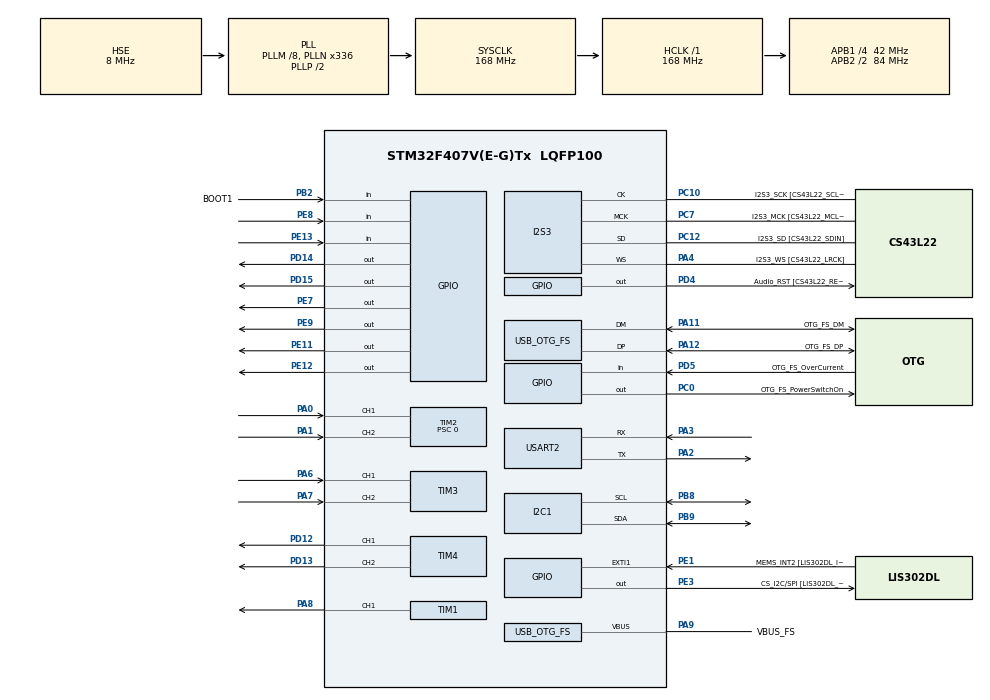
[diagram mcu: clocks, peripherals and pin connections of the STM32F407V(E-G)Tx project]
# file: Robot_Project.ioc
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FREERTOS.Tasks01=defaultTask,24,128,StartDefaultTask,Default,NULL,Dynamic,NULL,NULL;RobotTask,24,512,RobotTaskFunction,Default,NULL,Dynamic,NULL,NULL
I2S3.AudioFreq-Half_Duplex_Master=I2S_AUDIOFREQ_96K
I2S3.ErrorAudioFreq=-2.34 %
I2S3.ErrorAudioFreq-Half_Duplex_Master=0.8 %
I2S3.FullDuplexMode=I2S_FULLDUPLEXMODE_DISABLE
I2S3.Instance=SPI$Index
I2S3.RealAudioFreq=93.75 KHz
I2S3.RealAudioFreq-Half_Duplex_Master=96.774 KHz
I2S3.VirtualMode=I2S_MODE_MASTER
Mcu.Family=STM32F4
Mcu.Name=STM32F407V(E-G)Tx
Mcu.Package=LQFP100
NVIC.OTG_FS_IRQn=true\:5\:0\:false\:false\:true\:true\:true\:true\:true
NVIC.PriorityGroup=NVIC_PRIORITYGROUP_4
NVIC.TIM2_IRQn=true\:5\:0\:false\:false\:true\:true\:true\:true\:true
PA0-WKUP.Signal=S_TIM2_CH1_ETR
PA1.Signal=S_TIM2_CH2
PA10.GPIO_Label=OTG_FS_ID
PA10.GPIO_Mode=GPIO_MODE_AF_PP
PA10.GPIO_PuPd=GPIO_NOPULL
PA10.GPIO_Speed=GPIO_SPEED_FREQ_LOW
PA10.Signal=USB_OTG_FS_ID
PA11.GPIO_Label=OTG_FS_DM
PA11.GPIO_Mode=GPIO_MODE_AF_PP
PA11.GPIO_PuPd=GPIO_NOPULL
PA11.GPIO_Speed=GPIO_SPEED_FREQ_LOW
PA11.Mode=Host_Only
PA11.Signal=USB_OTG_FS_DM
PA12.GPIO_Label=OTG_FS_DP
PA12.GPIO_Mode=GPIO_MODE_AF_PP
PA12.GPIO_PuPd=GPIO_NOPULL
PA12.GPIO_Speed=GPIO_SPEED_FREQ_LOW
PA12.Mode=Host_Only
PA12.Signal=USB_OTG_FS_DP
PA13.GPIO_Label=SWDIO
PA13.Mode=Serial_Wire
PA13.Signal=SYS_JTMS-SWDIO
PA14.GPIO_Label=SWCLK
PA14.Mode=Serial_Wire
PA14.Signal=SYS_JTCK-SWCLK
PA2.Mode=Asynchronous
PA2.Signal=USART2_TX
PA3.Mode=Asynchronous
PA3.Signal=USART2_RX
PA4.GPIO_Label=I2S3_WS [CS43L22_LRCK]
PA4.GPIO_Mode=GPIO_MODE_AF_PP
PA4.GPIO_PuPd=GPIO_NOPULL
PA4.GPIO_Speed=GPIO_SPEED_FREQ_LOW
PA4.Mode=Half_Duplex_Master
PA4.Signal=I2S3_WS
PA5.GPIO_Label=SPI1_SCK [LIS302DL_SCL/SPC]
PA5.GPIO_Mode=GPIO_MODE_AF_PP
PA5.GPIO_PuPd=GPIO_NOPULL
PA5.GPIO_Speed=GPIO_SPEED_FREQ_LOW
PA5.Signal=SPI1_SCK
PA6.Signal=S_TIM3_CH1
PA7.Signal=S_TIM3_CH2
PA8.Signal=S_TIM1_CH1
PA9.GPIO_Label=VBUS_FS
PA9.GPIO_Mode=GPIO_MODE_INPUT
PA9.GPIO_PuPd=GPIO_NOPULL
PA9.Mode=Activate_VBUS
PA9.Signal=USB_OTG_FS_VBUS
PB10.GPIO_Label=CLK_IN [MP45DT02_CLK]
PB10.GPIO_Mode=GPIO_MODE_AF_PP
PB10.GPIO_PuPd=GPIO_NOPULL
PB10.GPIO_Speed=GPIO_SPEED_FREQ_LOW
PB10.Signal=I2S2_CK
PB2.GPIO_Label=BOOT1
PB2.GPIO_Mode=GPIO_MODE_INPUT
PB2.GPIO_PuPd=GPIO_NOPULL
PB2.Signal=GPIO_Input
PB3.GPIO_Label=SWO
PB3.Signal=SYS_JTDO-SWO
PB8.Mode=I2C
PB8.Signal=I2C1_SCL
PB9.Mode=I2C
PB9.Signal=I2C1_SDA
PC0.GPIO_Label=OTG_FS_PowerSwitchOn
PC0.GPIO_PuPd=GPIO_NOPULL
PC0.GPIO_Speed=GPIO_SPEED_FREQ_LOW
PC0.PinState=GPIO_PIN_SET
PC0.Signal=GPIO_Output
PC10.GPIO_Label=I2S3_SCK [CS43L22_SCLK]
PC10.GPIO_Mode=GPIO_MODE_AF_PP
PC10.GPIO_PuPd=GPIO_NOPULL
PC10.GPIO_Speed=GPIO_SPEED_FREQ_LOW
PC10.Mode=Half_Duplex_Master
PC10.Signal=I2S3_CK
PC12.GPIO_Label=I2S3_SD [CS43L22_SDIN]
PC12.GPIO_Mode=GPIO_MODE_AF_PP
PC12.GPIO_PuPd=GPIO_NOPULL
PC12.GPIO_Speed=GPIO_SPEED_FREQ_LOW
PC12.Mode=Half_Duplex_Master
PC12.Signal=I2S3_SD
PC14-OSC32_IN.GPIO_Label=PC14-OSC32_IN
PC14-OSC32_IN.Mode=LSE-External-Oscillator
PC14-OSC32_IN.Signal=RCC_OSC32_IN
PC15-OSC32_OUT.GPIO_Label=PC15-OSC32_OUT
PC15-OSC32_OUT.Mode=LSE-External-Oscillator
PC15-OSC32_OUT.Signal=RCC_OSC32_OUT
PC3.GPIO_Label=PDM_OUT [MP45DT02_DOUT]
PC3.GPIO_Mode=GPIO_MODE_AF_PP
PC3.GPIO_PuPd=GPIO_NOPULL
PC3.GPIO_Speed=GPIO_SPEED_FREQ_LOW
PC3.Signal=I2S2_SD
PC7.GPIO_Label=I2S3_MCK [CS43L22_MCLK]
PC7.GPIO_Mode=GPIO_MODE_AF_PP
PC7.GPIO_PuPd=GPIO_NOPULL
PC7.GPIO_Speed=GPIO_SPEED_FREQ_LOW
PC7.Mode=Master_Clock_Activated
PC7.Signal=I2S3_MCK
PD12.Signal=S_TIM4_CH1
PD13.Signal=S_TIM4_CH2
PD14.Signal=GPIO_Output
PD15.Signal=GPIO_Output
PD4.GPIO_Label=Audio_RST [CS43L22_RESET]
PD4.GPIO_PuPd=GPIO_NOPULL
PD4.GPIO_Speed=GPIO_SPEED_FREQ_LOW
PD4.Signal=GPIO_Output
PD5.GPIO_Label=OTG_FS_OverCurrent
PD5.GPIO_Mode=GPIO_MODE_INPUT
PD5.GPIO_PuPd=GPIO_NOPULL
PD5.Signal=GPIO_Input
PE1.GPIO_Label=MEMS_INT2 [LIS302DL_INT2]
PE1.GPIO_ModeDefaultEXTI=GPIO_MODE_EVT_RISING
PE1.GPIO_PuPd=GPIO_NOPULL
PE1.Signal=GPXTI1
PE11.Signal=GPIO_Output
PE12.Signal=GPIO_Output
PE13.Signal=GPIO_Input
PE3.GPIO_Label=CS_I2C/SPI [LIS302DL_CS_I2C/SPI]
PE3.GPIO_PuPd=GPIO_NOPULL
PE3.GPIO_Speed=GPIO_SPEED_FREQ_LOW
PE3.Signal=GPIO_Output
PE7.Signal=GPIO_Output
PE8.Signal=GPIO_Input
PE9.Signal=GPIO_Output
PH0-OSC_IN.GPIO_Label=PH0-OSC_IN
PH0-OSC_IN.Mode=HSE-External-Oscillator
PH0-OSC_IN.Signal=RCC_OSC_IN
PH1-OSC_OUT.GPIO_Label=PH1-OSC_OUT
PH1-OSC_OUT.Mode=HSE-External-Oscillator
PH1-OSC_OUT.Signal=RCC_OSC_OUT
ProjectManager.HeapSize=0x200
ProjectManager.StackSize=0x400
ProjectManager.TargetToolchain=STM32CubeIDE
RCC.48MHZClocksFreq_Value=48000000
RCC.AHBFreq_Value=168000000
RCC.APB1CLKDivider=RCC_HCLK_DIV4
RCC.APB1Freq_Value=42000000
RCC.APB1TimFreq_Value=84000000
RCC.APB2CLKDivider=RCC_HCLK_DIV2
RCC.APB2Freq_Value=84000000
RCC.APB2TimFreq_Value=168000000
RCC.CortexFreq_Value=168000000
RCC.HCLKFreq_Value=168000000
RCC.HSE_VALUE=8000000
RCC.HSI_VALUE=16000000
RCC.PLLM=8
RCC.PLLN=336
RCC.PLLQ=7
RCC.SYSCLKFreq_VALUE=168000000
RCC.SYSCLKSource=RCC_SYSCLKSOURCE_PLLCLK
RCC.VCOOutputFreq_Value=336000000
SH.S_TIM1_CH1.0=TIM1_CH1,PWM Generation1 CH1
SH.S_TIM2_CH1_ETR.0=TIM2_CH1,Encoder_Interface
SH.S_TIM2_CH2.0=TIM2_CH2,Encoder_Interface
SH.S_TIM3_CH1.0=TIM3_CH1,Encoder_Interface
SH.S_TIM3_CH2.0=TIM3_CH2,Encoder_Interface
SH.S_TIM4_CH1.0=TIM4_CH1,PWM Generation1 CH1
SH.S_TIM4_CH2.0=TIM4_CH2,PWM Generation2 CH2
TIM1.Channel-PWM\ Generation1\ CH1=TIM_CHANNEL_1
TIM1.Period=19999
TIM1.Prescaler=167
TIM1.Pulse-PWM\ Generation1\ CH1=1500
TIM2.Period=65535
TIM2.Prescaler=0
TIM4.Channel-PWM\ Generation1\ CH1=TIM_CHANNEL_1
TIM4.Channel-PWM\ Generation2\ CH2=TIM_CHANNEL_2
TIM5.Prescaler=83
TIM6.Prescaler=83
USART2.VirtualMode=VM_ASYNC
USB_HOST.BSP.number=1
USB_HOST.USBH_HandleTypeDef-CDC_FS=hUsbHostFS
USB_HOST.VirtualModeFS=Cdc
USB_HOST0.BSP.STBoard=false
USB_HOST0.BSP.api=Unknown
USB_HOST0.BSP.instance=PC0
USB_HOST0.BSP.ip=GPIO
USB_HOST0.BSP.mode=Output
USB_HOST0.BSP.name=Drive_VBUS_FS
USB_HOST0.BSP.solution=PC0
USB_OTG_FS.VirtualMode=Host_Only
USB_OTG_FS.phy_itface=HCD_PHY_EMBEDDED
VP_FREERTOS_VS_CMSIS_V2.Mode=CMSIS_V2
VP_TIM1_VS_ClockSourceINT.Mode=Internal
VP_TIM5_VS_ClockSourceINT.Mode=Internal
VP_TIM6_VS_ClockSourceINT.Mode=Enable_Timer
VP_USB_HOST_VS_USB_HOST_CDC_FS.Mode=CDC_FS
board=STM32F407G-DISC1

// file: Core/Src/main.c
/* USER CODE BEGIN Header */
/**
  ******************************************************************************
  * @file           : main.c
  * @brief          : Main program body
  ******************************************************************************
  * @attention
  *
  * Copyright (c) 2026 STMicroelectronics.
  * All rights reserved.
  *
  * This software is licensed under terms that can be found in the LICENSE file
  * in the root directory of this software component.
  * If no LICENSE file comes with this software, it is provided AS-IS.
  *
  ******************************************************************************
  */
/* USER CODE END Header */
#include "main.h"
#include "cmsis_os.h"
#include "usb_host.h"
#include <math.h>
#include <stdio.h>
#include <string.h>

I2C_HandleTypeDef hi2c1;

I2S_HandleTypeDef hi2s3;

TIM_HandleTypeDef htim1;
TIM_HandleTypeDef htim2;
TIM_HandleTypeDef htim3;
TIM_HandleTypeDef htim4;
TIM_HandleTypeDef htim5;
TIM_HandleTypeDef htim6;

UART_HandleTypeDef huart2;

/* Definitions for defaultTask */
osThreadId_t defaultTaskHandle;
const osThreadAttr_t defaultTask_attributes = {
  .name = "defaultTask",
  .stack_size = 128 * 4,
  .priority = (osPriority_t) osPriorityNormal,
};
/* Definitions for RobotTask */
osThreadId_t RobotTaskHandle;
const osThreadAttr_t RobotTask_attributes = {
  .name = "RobotTask",
  .stack_size = 512 * 4,
  .priority = (osPriority_t) osPriorityNormal,
};
/* USER CODE BEGIN PV */

volatile int32_t encoder1_count = 0;
volatile int32_t encoder2_count = 0;

int32_t encoder1_prev = 0;
int32_t encoder2_prev = 0;

int32_t encoder1_delta = 0;
int32_t encoder2_delta = 0;

uint16_t prev_enc1 = 0;
uint16_t prev_enc2 = 0;

int16_t delta1 = 0;
int16_t delta2 = 0;

uint32_t pwm1 = 50000;
uint32_t pwm2 = 50000;

uint32_t last_time = 0;

float distance1 = 0;
float distance2 = 0;

float Yaw_Angle = 0.0f;

volatile float encoder1_speed = 0.0f;
volatile float encoder2_speed = 0.0f;

volatile float speed_error = 0.0f;

volatile uint16_t base_pwm = 50000;

volatile uint16_t left_pwm = 0;
volatile uint16_t right_pwm = 0;

volatile float Kp = 5.0f;

volatile uint32_t mpu_i2c_result = 99;

volatile HAL_StatusTypeDef i2c_test = HAL_ERROR;

volatile HAL_StatusTypeDef mpu_read_status = HAL_ERROR;

volatile uint8_t mpu6500_ready = 0;

/* USER CODE END PV */

void SystemClock_Config(void);
static void MX_GPIO_Init(void);
static void MX_I2C1_Init(void);
static void MX_I2S3_Init(void);
static void MX_TIM1_Init(void);
static void MX_TIM2_Init(void);
static void MX_TIM3_Init(void);
static void MX_TIM4_Init(void);
static void MX_TIM5_Init(void);
static void MX_TIM6_Init(void);
static void MX_USART2_UART_Init(void);
void StartDefaultTask(void *argument);
void RobotTaskFunction(void *argument);

/* USER CODE BEGIN PFP */
void Motor_Forward(void);
void Motor_Backward(void);
void Motor_Left(void);
void Motor_Right(void);
void Motor_Stop(void);

float HCSR04_Read(void);
float HCSR04_Read2(void);

void MPU6500_Init(void);
HAL_StatusTypeDef MPU6500_Read(void);
void MPU6500_CalibrateGyro(void);

/* USER CODE END PFP */

/* USER CODE BEGIN 0 */

#define MPU6500_ADDR  (0x68 << 1)

uint8_t who_am_i;
uint8_t raw_data[14];
volatile HAL_StatusTypeDef mpu_i2c_status = HAL_ERROR;
int16_t Accel_X_RAW, Accel_Y_RAW, Accel_Z_RAW;
int16_t Gyro_X_RAW, Gyro_Y_RAW, Gyro_Z_RAW;

float Accel_X, Accel_Y, Accel_Z;
float Gyro_X, Gyro_Y, Gyro_Z;

float Gyro_X_Offset = 0.0f;
float Gyro_Y_Offset = 0.0f;
float Gyro_Z_Offset = 0.0f;

/* USER CODE END 0 */

int main(void)
{

  /* USER CODE BEGIN 1 */

	float HCSR04_Read(void);
	float HCSR04_Read2(void);

	void Motor_Forward(void);
	void Motor_Stop(void);

  /* USER CODE END 1 */

  /* MCU Configuration--------------------------------------------------------*/

  /* Reset of all peripherals, Initializes the Flash interface and the Systick. */
  HAL_Init();

  /* Configure the system clock */
  SystemClock_Config();

  /* Initialize all configured peripherals */
  MX_GPIO_Init();
  MX_I2C1_Init();
  MX_I2S3_Init();
  MX_TIM1_Init();
  MX_TIM2_Init();
  MX_TIM3_Init();
  MX_TIM4_Init();
  MX_TIM5_Init();
  MX_TIM6_Init();
  MX_USART2_UART_Init();
  /* USER CODE BEGIN 2 */

  /* Initialize MPU6500 */
  MPU6500_Init();

  if (mpu6500_ready == 0)
  {
      Error_Handler();
  }

  /* Calibrate gyroscope while robot is stationary */
  MPU6500_CalibrateGyro();

  if (mpu6500_ready == 0)
  {
      Error_Handler();
  }

  /* Start wheel encoders */
  HAL_TIM_Encoder_Start(&htim2, TIM_CHANNEL_ALL);
  HAL_TIM_Encoder_Start(&htim3, TIM_CHANNEL_ALL);

  /* Start motor PWM */
  HAL_TIM_PWM_Start(&htim4, TIM_CHANNEL_1);
  HAL_TIM_PWM_Start(&htim4, TIM_CHANNEL_2);

  /* Set motor PWM compare values */
  /* IMPORTANT: Verify TIM4 Period in CubeMX before using 60000 */
  __HAL_TIM_SET_COMPARE(&htim4, TIM_CHANNEL_1, 60000);
  __HAL_TIM_SET_COMPARE(&htim4, TIM_CHANNEL_2, 60000);

  /* Start servo PWM on PA8 */
  HAL_TIM_PWM_Start(&htim1, TIM_CHANNEL_1);

  /* Set servo to centre position */
  __HAL_TIM_SET_COMPARE(&htim1, TIM_CHANNEL_1, 770);

  /* Allow servo to reach centre */
  HAL_Delay(1000);

  /* Initialize encoder tracking */
  prev_enc1 = __HAL_TIM_GET_COUNTER(&htim2);
  prev_enc2 = __HAL_TIM_GET_COUNTER(&htim3);

  last_time = HAL_GetTick();

  /* Start ultrasonic timing base timers */
  HAL_TIM_Base_Start(&htim5);
  HAL_TIM_Base_Start(&htim6);

  /* USER CODE END 2 */

  /* Init scheduler */
  osKernelInitialize();

  /* Create the thread(s) */
  /* creation of defaultTask */
  defaultTaskHandle = osThreadNew(StartDefaultTask, NULL, &defaultTask_attributes);

  /* creation of RobotTask */
  RobotTaskHandle = osThreadNew(RobotTaskFunction, NULL, &RobotTask_attributes);

  /* Start scheduler */
  osKernelStart();

  /* We should never get here as control is now taken by the scheduler */

  /* Infinite loop */
  while (1)
  {

  }
}

void SystemClock_Config(void)
{
  RCC_OscInitTypeDef RCC_OscInitStruct = {0};
  RCC_ClkInitTypeDef RCC_ClkInitStruct = {0};

  /** Configure the main internal regulator output voltage
  */
  __HAL_RCC_PWR_CLK_ENABLE();
  __HAL_PWR_VOLTAGESCALING_CONFIG(PWR_REGULATOR_VOLTAGE_SCALE1);

  /** Initializes the RCC Oscillators according to the specified parameters
  * in the RCC_OscInitTypeDef structure.
  */
  RCC_OscInitStruct.OscillatorType = RCC_OSCILLATORTYPE_HSE;
  RCC_OscInitStruct.HSEState = RCC_HSE_ON;
  RCC_OscInitStruct.PLL.PLLState = RCC_PLL_ON;
  RCC_OscInitStruct.PLL.PLLSource = RCC_PLLSOURCE_HSE;
  RCC_OscInitStruct.PLL.PLLM = 8;
  RCC_OscInitStruct.PLL.PLLN = 336;
  RCC_OscInitStruct.PLL.PLLP = RCC_PLLP_DIV2;
  RCC_OscInitStruct.PLL.PLLQ = 7;
  if (HAL_RCC_OscConfig(&RCC_OscInitStruct) != HAL_OK)
  {
    Error_Handler();
  }

  /** Initializes the CPU, AHB and APB buses clocks
  */
  RCC_ClkInitStruct.ClockType = RCC_CLOCKTYPE_HCLK|RCC_CLOCKTYPE_SYSCLK
                              |RCC_CLOCKTYPE_PCLK1|RCC_CLOCKTYPE_PCLK2;
  RCC_ClkInitStruct.SYSCLKSource = RCC_SYSCLKSOURCE_PLLCLK;
  RCC_ClkInitStruct.AHBCLKDivider = RCC_SYSCLK_DIV1;
  RCC_ClkInitStruct.APB1CLKDivider = RCC_HCLK_DIV4;
  RCC_ClkInitStruct.APB2CLKDivider = RCC_HCLK_DIV2;

  if (HAL_RCC_ClockConfig(&RCC_ClkInitStruct, FLASH_LATENCY_5) != HAL_OK)
  {
    Error_Handler();
  }
}

static void MX_I2C1_Init(void)
{

  hi2c1.Instance = I2C1;
  hi2c1.Init.ClockSpeed = 100000;
  hi2c1.Init.DutyCycle = I2C_DUTYCYCLE_2;
  hi2c1.Init.OwnAddress1 = 0;
  hi2c1.Init.AddressingMode = I2C_ADDRESSINGMODE_7BIT;
  hi2c1.Init.DualAddressMode = I2C_DUALADDRESS_DISABLE;
  hi2c1.Init.OwnAddress2 = 0;
  hi2c1.Init.GeneralCallMode = I2C_GENERALCALL_DISABLE;
  hi2c1.Init.NoStretchMode = I2C_NOSTRETCH_DISABLE;
  if (HAL_I2C_Init(&hi2c1) != HAL_OK)
  {
    Error_Handler();
  }

}

static void MX_I2S3_Init(void)
{

  hi2s3.Instance = SPI3;
  hi2s3.Init.Mode = I2S_MODE_MASTER_TX;
  hi2s3.Init.Standard = I2S_STANDARD_PHILIPS;
  hi2s3.Init.DataFormat = I2S_DATAFORMAT_16B;
  hi2s3.Init.MCLKOutput = I2S_MCLKOUTPUT_ENABLE;
  hi2s3.Init.AudioFreq = I2S_AUDIOFREQ_96K;
  hi2s3.Init.CPOL = I2S_CPOL_LOW;
  hi2s3.Init.ClockSource = I2S_CLOCK_PLL;
  hi2s3.Init.FullDuplexMode = I2S_FULLDUPLEXMODE_DISABLE;
  if (HAL_I2S_Init(&hi2s3) != HAL_OK)
  {
    Error_Handler();
  }

}

static void MX_TIM1_Init(void)
{

  TIM_ClockConfigTypeDef sClockSourceConfig = {0};
  TIM_MasterConfigTypeDef sMasterConfig = {0};
  TIM_OC_InitTypeDef sConfigOC = {0};
  TIM_BreakDeadTimeConfigTypeDef sBreakDeadTimeConfig = {0};

  htim1.Instance = TIM1;
  htim1.Init.Prescaler = 167;
  htim1.Init.CounterMode = TIM_COUNTERMODE_UP;
  htim1.Init.Period = 19999;
  htim1.Init.ClockDivision = TIM_CLOCKDIVISION_DIV1;
  htim1.Init.RepetitionCounter = 0;
  htim1.Init.AutoReloadPreload = TIM_AUTORELOAD_PRELOAD_DISABLE;
  if (HAL_TIM_Base_Init(&htim1) != HAL_OK)
  {
    Error_Handler();
  }
  sClockSourceConfig.ClockSource = TIM_CLOCKSOURCE_INTERNAL;
  if (HAL_TIM_ConfigClockSource(&htim1, &sClockSourceConfig) != HAL_OK)
  {
    Error_Handler();
  }
  if (HAL_TIM_PWM_Init(&htim1) != HAL_OK)
  {
    Error_Handler();
  }
  sMasterConfig.MasterOutputTrigger = TIM_TRGO_RESET;
  sMasterConfig.MasterSlaveMode = TIM_MASTERSLAVEMODE_DISABLE;
  if (HAL_TIMEx_MasterConfigSynchronization(&htim1, &sMasterConfig) != HAL_OK)
  {
    Error_Handler();
  }
  sConfigOC.OCMode = TIM_OCMODE_PWM1;
  sConfigOC.Pulse = 1500;
  sConfigOC.OCPolarity = TIM_OCPOLARITY_HIGH;
  sConfigOC.OCNPolarity = TIM_OCNPOLARITY_HIGH;
  sConfigOC.OCFastMode = TIM_OCFAST_DISABLE;
  sConfigOC.OCIdleState = TIM_OCIDLESTATE_RESET;
  sConfigOC.OCNIdleState = TIM_OCNIDLESTATE_RESET;
  if (HAL_TIM_PWM_ConfigChannel(&htim1, &sConfigOC, TIM_CHANNEL_1) != HAL_OK)
  {
    Error_Handler();
  }
  sBreakDeadTimeConfig.OffStateRunMode = TIM_OSSR_DISABLE;
  sBreakDeadTimeConfig.OffStateIDLEMode = TIM_OSSI_DISABLE;
  sBreakDeadTimeConfig.LockLevel = TIM_LOCKLEVEL_OFF;
  sBreakDeadTimeConfig.DeadTime = 0;
  sBreakDeadTimeConfig.BreakState = TIM_BREAK_DISABLE;
  sBreakDeadTimeConfig.BreakPolarity = TIM_BREAKPOLARITY_HIGH;
  sBreakDeadTimeConfig.AutomaticOutput = TIM_AUTOMATICOUTPUT_DISABLE;
  if (HAL_TIMEx_ConfigBreakDeadTime(&htim1, &sBreakDeadTimeConfig) != HAL_OK)
  {
    Error_Handler();
  }
  HAL_TIM_MspPostInit(&htim1);

}

static void MX_TIM2_Init(void)
{

  TIM_Encoder_InitTypeDef sConfig = {0};
  TIM_MasterConfigTypeDef sMasterConfig = {0};

  htim2.Instance = TIM2;
  htim2.Init.Prescaler = 0;
  htim2.Init.CounterMode = TIM_COUNTERMODE_UP;
  htim2.Init.Period = 65535;
  htim2.Init.ClockDivision = TIM_CLOCKDIVISION_DIV1;
  htim2.Init.AutoReloadPreload = TIM_AUTORELOAD_PRELOAD_DISABLE;
  sConfig.EncoderMode = TIM_ENCODERMODE_TI1;
  sConfig.IC1Polarity = TIM_ICPOLARITY_RISING;
  sConfig.IC1Selection = TIM_ICSELECTION_DIRECTTI;
  sConfig.IC1Prescaler = TIM_ICPSC_DIV1;
  sConfig.IC1Filter = 0;
  sConfig.IC2Polarity = TIM_ICPOLARITY_RISING;
  sConfig.IC2Selection = TIM_ICSELECTION_DIRECTTI;
  sConfig.IC2Prescaler = TIM_ICPSC_DIV1;
  sConfig.IC2Filter = 0;
  if (HAL_TIM_Encoder_Init(&htim2, &sConfig) != HAL_OK)
  {
    Error_Handler();
  }
  sMasterConfig.MasterOutputTrigger = TIM_TRGO_RESET;
  sMasterConfig.MasterSlaveMode = TIM_MASTERSLAVEMODE_DISABLE;
  if (HAL_TIMEx_MasterConfigSynchronization(&htim2, &sMasterConfig) != HAL_OK)
  {
    Error_Handler();
  }

}

static void MX_TIM3_Init(void)
{

  TIM_Encoder_InitTypeDef sConfig = {0};
  TIM_MasterConfigTypeDef sMasterConfig = {0};

  htim3.Instance = TIM3;
  htim3.Init.Prescaler = 0;
  htim3.Init.CounterMode = TIM_COUNTERMODE_UP;
  htim3.Init.Period = 65535;
  htim3.Init.ClockDivision = TIM_CLOCKDIVISION_DIV1;
  htim3.Init.AutoReloadPreload = TIM_AUTORELOAD_PRELOAD_DISABLE;
  sConfig.EncoderMode = TIM_ENCODERMODE_TI1;
  sConfig.IC1Polarity = TIM_ICPOLARITY_RISING;
  sConfig.IC1Selection = TIM_ICSELECTION_DIRECTTI;
  sConfig.IC1Prescaler = TIM_ICPSC_DIV1;
  sConfig.IC1Filter = 0;
  sConfig.IC2Polarity = TIM_ICPOLARITY_RISING;
  sConfig.IC2Selection = TIM_ICSELECTION_DIRECTTI;
  sConfig.IC2Prescaler = TIM_ICPSC_DIV1;
  sConfig.IC2Filter = 0;
  if (HAL_TIM_Encoder_Init(&htim3, &sConfig) != HAL_OK)
  {
    Error_Handler();
  }
  sMasterConfig.MasterOutputTrigger = TIM_TRGO_RESET;
  sMasterConfig.MasterSlaveMode = TIM_MASTERSLAVEMODE_DISABLE;
  if (HAL_TIMEx_MasterConfigSynchronization(&htim3, &sMasterConfig) != HAL_OK)
  {
    Error_Handler();
  }

}

static void MX_TIM4_Init(void)
{

  TIM_MasterConfigTypeDef sMasterConfig = {0};
  TIM_OC_InitTypeDef sConfigOC = {0};

  htim4.Instance = TIM4;
  htim4.Init.Prescaler = 0;
  htim4.Init.CounterMode = TIM_COUNTERMODE_UP;
  htim4.Init.Period = 65535;
  htim4.Init.ClockDivision = TIM_CLOCKDIVISION_DIV1;
  htim4.Init.AutoReloadPreload = TIM_AUTORELOAD_PRELOAD_DISABLE;
  if (HAL_TIM_PWM_Init(&htim4) != HAL_OK)
  {
    Error_Handler();
  }
  sMasterConfig.MasterOutputTrigger = TIM_TRGO_RESET;
  sMasterConfig.MasterSlaveMode = TIM_MASTERSLAVEMODE_DISABLE;
  if (HAL_TIMEx_MasterConfigSynchronization(&htim4, &sMasterConfig) != HAL_OK)
  {
    Error_Handler();
  }
  sConfigOC.OCMode = TIM_OCMODE_PWM1;
  sConfigOC.Pulse = 0;
  sConfigOC.OCPolarity = TIM_OCPOLARITY_HIGH;
  sConfigOC.OCFastMode = TIM_OCFAST_DISABLE;
  if (HAL_TIM_PWM_ConfigChannel(&htim4, &sConfigOC, TIM_CHANNEL_1) != HAL_OK)
  {
    Error_Handler();
  }
  if (HAL_TIM_PWM_ConfigChannel(&htim4, &sConfigOC, TIM_CHANNEL_2) != HAL_OK)
  {
    Error_Handler();
  }
  HAL_TIM_MspPostInit(&htim4);

}

static void MX_TIM5_Init(void)
{

  TIM_ClockConfigTypeDef sClockSourceConfig = {0};
  TIM_MasterConfigTypeDef sMasterConfig = {0};

  htim5.Instance = TIM5;
  htim5.Init.Prescaler = 83;
  htim5.Init.CounterMode = TIM_COUNTERMODE_UP;
  htim5.Init.Period = 4294967295;
  htim5.Init.ClockDivision = TIM_CLOCKDIVISION_DIV1;
  htim5.Init.AutoReloadPreload = TIM_AUTORELOAD_PRELOAD_DISABLE;
  if (HAL_TIM_Base_Init(&htim5) != HAL_OK)
  {
    Error_Handler();
  }
  sClockSourceConfig.ClockSource = TIM_CLOCKSOURCE_INTERNAL;
  if (HAL_TIM_ConfigClockSource(&htim5, &sClockSourceConfig) != HAL_OK)
  {
    Error_Handler();
  }
  sMasterConfig.MasterOutputTrigger = TIM_TRGO_RESET;
  sMasterConfig.MasterSlaveMode = TIM_MASTERSLAVEMODE_DISABLE;
  if (HAL_TIMEx_MasterConfigSynchronization(&htim5, &sMasterConfig) != HAL_OK)
  {
    Error_Handler();
  }

}

static void MX_TIM6_Init(void)
{

  TIM_MasterConfigTypeDef sMasterConfig = {0};

  htim6.Instance = TIM6;
  htim6.Init.Prescaler = 83;
  htim6.Init.CounterMode = TIM_COUNTERMODE_UP;
  htim6.Init.Period = 65535;
  htim6.Init.AutoReloadPreload = TIM_AUTORELOAD_PRELOAD_DISABLE;
  if (HAL_TIM_Base_Init(&htim6) != HAL_OK)
  {
    Error_Handler();
  }
  sMasterConfig.MasterOutputTrigger = TIM_TRGO_RESET;
  sMasterConfig.MasterSlaveMode = TIM_MASTERSLAVEMODE_DISABLE;
  if (HAL_TIMEx_MasterConfigSynchronization(&htim6, &sMasterConfig) != HAL_OK)
  {
    Error_Handler();
  }

}

static void MX_USART2_UART_Init(void)
{

  huart2.Instance = USART2;
  huart2.Init.BaudRate = 115200;
  huart2.Init.WordLength = UART_WORDLENGTH_8B;
  huart2.Init.StopBits = UART_STOPBITS_1;
  huart2.Init.Parity = UART_PARITY_NONE;
  huart2.Init.Mode = UART_MODE_TX_RX;
  huart2.Init.HwFlowCtl = UART_HWCONTROL_NONE;
  huart2.Init.OverSampling = UART_OVERSAMPLING_16;
  if (HAL_UART_Init(&huart2) != HAL_OK)
  {
    Error_Handler();
  }

}

static void MX_GPIO_Init(void)
{
  GPIO_InitTypeDef GPIO_InitStruct = {0};

  /* GPIO Ports Clock Enable */
  __HAL_RCC_GPIOE_CLK_ENABLE();
  __HAL_RCC_GPIOC_CLK_ENABLE();
  __HAL_RCC_GPIOH_CLK_ENABLE();
  __HAL_RCC_GPIOA_CLK_ENABLE();
  __HAL_RCC_GPIOB_CLK_ENABLE();
  __HAL_RCC_GPIOD_CLK_ENABLE();

  /*Configure GPIO pin Output Level */
  HAL_GPIO_WritePin(GPIOE, CS_I2C_SPI_Pin|GPIO_PIN_7|GPIO_PIN_9|GPIO_PIN_11
                          |GPIO_PIN_12, GPIO_PIN_RESET);

  /*Configure GPIO pin Output Level */
  HAL_GPIO_WritePin(OTG_FS_PowerSwitchOn_GPIO_Port, OTG_FS_PowerSwitchOn_Pin, GPIO_PIN_SET);

  /*Configure GPIO pin Output Level */
  HAL_GPIO_WritePin(GPIOD, GPIO_PIN_14|GPIO_PIN_15|Audio_RST_Pin, GPIO_PIN_RESET);

  /*Configure GPIO pins : CS_I2C_SPI_Pin PE7 PE9 PE11
                           PE12 */
  GPIO_InitStruct.Pin = CS_I2C_SPI_Pin|GPIO_PIN_7|GPIO_PIN_9|GPIO_PIN_11
                          |GPIO_PIN_12;
  GPIO_InitStruct.Mode = GPIO_MODE_OUTPUT_PP;
  GPIO_InitStruct.Pull = GPIO_NOPULL;
  GPIO_InitStruct.Speed = GPIO_SPEED_FREQ_LOW;
  HAL_GPIO_Init(GPIOE, &GPIO_InitStruct);

  /*Configure GPIO pin : OTG_FS_PowerSwitchOn_Pin */
  GPIO_InitStruct.Pin = OTG_FS_PowerSwitchOn_Pin;
  GPIO_InitStruct.Mode = GPIO_MODE_OUTPUT_PP;
  GPIO_InitStruct.Pull = GPIO_NOPULL;
  GPIO_InitStruct.Speed = GPIO_SPEED_FREQ_LOW;
  HAL_GPIO_Init(OTG_FS_PowerSwitchOn_GPIO_Port, &GPIO_InitStruct);

  /*Configure GPIO pin : PDM_OUT_Pin */
  GPIO_InitStruct.Pin = PDM_OUT_Pin;
  GPIO_InitStruct.Mode = GPIO_MODE_AF_PP;
  GPIO_InitStruct.Pull = GPIO_NOPULL;
  GPIO_InitStruct.Speed = GPIO_SPEED_FREQ_LOW;
  GPIO_InitStruct.Alternate = GPIO_AF5_SPI2;
  HAL_GPIO_Init(PDM_OUT_GPIO_Port, &GPIO_InitStruct);

  /*Configure GPIO pin : SPI1_SCK_Pin */
  GPIO_InitStruct.Pin = SPI1_SCK_Pin;
  GPIO_InitStruct.Mode = GPIO_MODE_AF_PP;
  GPIO_InitStruct.Pull = GPIO_NOPULL;
  GPIO_InitStruct.Speed = GPIO_SPEED_FREQ_LOW;
  GPIO_InitStruct.Alternate = GPIO_AF5_SPI1;
  HAL_GPIO_Init(SPI1_SCK_GPIO_Port, &GPIO_InitStruct);

  /*Configure GPIO pin : BOOT1_Pin */
  GPIO_InitStruct.Pin = BOOT1_Pin;
  GPIO_InitStruct.Mode = GPIO_MODE_INPUT;
  GPIO_InitStruct.Pull = GPIO_NOPULL;
  HAL_GPIO_Init(BOOT1_GPIO_Port, &GPIO_InitStruct);

  /*Configure GPIO pins : PE8 PE13 */
  GPIO_InitStruct.Pin = GPIO_PIN_8|GPIO_PIN_13;
  GPIO_InitStruct.Mode = GPIO_MODE_INPUT;
  GPIO_InitStruct.Pull = GPIO_NOPULL;
  HAL_GPIO_Init(GPIOE, &GPIO_InitStruct);

  /*Configure GPIO pin : CLK_IN_Pin */
  GPIO_InitStruct.Pin = CLK_IN_Pin;
  GPIO_InitStruct.Mode = GPIO_MODE_AF_PP;
  GPIO_InitStruct.Pull = GPIO_NOPULL;
  GPIO_InitStruct.Speed = GPIO_SPEED_FREQ_LOW;
  GPIO_InitStruct.Alternate = GPIO_AF5_SPI2;
  HAL_GPIO_Init(CLK_IN_GPIO_Port, &GPIO_InitStruct);

  /*Configure GPIO pins : PD14 PD15 Audio_RST_Pin */
  GPIO_InitStruct.Pin = GPIO_PIN_14|GPIO_PIN_15|Audio_RST_Pin;
  GPIO_InitStruct.Mode = GPIO_MODE_OUTPUT_PP;
  GPIO_InitStruct.Pull = GPIO_NOPULL;
  GPIO_InitStruct.Speed = GPIO_SPEED_FREQ_LOW;
  HAL_GPIO_Init(GPIOD, &GPIO_InitStruct);

  /*Configure GPIO pin : OTG_FS_OverCurrent_Pin */
  GPIO_InitStruct.Pin = OTG_FS_OverCurrent_Pin;
  GPIO_InitStruct.Mode = GPIO_MODE_INPUT;
  GPIO_InitStruct.Pull = GPIO_NOPULL;
  HAL_GPIO_Init(OTG_FS_OverCurrent_GPIO_Port, &GPIO_InitStruct);

  /*Configure GPIO pin : MEMS_INT2_Pin */
  GPIO_InitStruct.Pin = MEMS_INT2_Pin;
  GPIO_InitStruct.Mode = GPIO_MODE_EVT_RISING;
  GPIO_InitStruct.Pull = GPIO_NOPULL;
  HAL_GPIO_Init(MEMS_INT2_GPIO_Port, &GPIO_InitStruct);

}

/* USER CODE BEGIN 4 */

void Motor_Forward_PWM(uint16_t right_pwm, uint16_t left_pwm)
{
    // Right motor = Motor 1 = TIM4 CH1
    HAL_GPIO_WritePin(GPIOD, GPIO_PIN_14, GPIO_PIN_RESET);
    HAL_GPIO_WritePin(GPIOD, GPIO_PIN_15, GPIO_PIN_SET);

    // Left motor = Motor 2 = TIM4 CH2
    HAL_GPIO_WritePin(GPIOE, GPIO_PIN_9, GPIO_PIN_RESET);
    HAL_GPIO_WritePin(GPIOE, GPIO_PIN_11, GPIO_PIN_SET);

    __HAL_TIM_SET_COMPARE(&htim4, TIM_CHANNEL_1, right_pwm);
    __HAL_TIM_SET_COMPARE(&htim4, TIM_CHANNEL_2, left_pwm);
}

void Motor_Backward(void)
{
    // Motor 1 Backward
    HAL_GPIO_WritePin(GPIOD, GPIO_PIN_14, GPIO_PIN_SET);
    HAL_GPIO_WritePin(GPIOD, GPIO_PIN_15, GPIO_PIN_RESET);

    // Motor 2 Backward
    HAL_GPIO_WritePin(GPIOE, GPIO_PIN_9, GPIO_PIN_SET);
    HAL_GPIO_WritePin(GPIOE, GPIO_PIN_11, GPIO_PIN_RESET);

    __HAL_TIM_SET_COMPARE(&htim4, TIM_CHANNEL_1, 55000);
    __HAL_TIM_SET_COMPARE(&htim4, TIM_CHANNEL_2, 55000);
}

void Motor_Left(void)
{
    // Motor A BACKWARD
    HAL_GPIO_WritePin(GPIOD, GPIO_PIN_14, GPIO_PIN_RESET);
    HAL_GPIO_WritePin(GPIOD, GPIO_PIN_15, GPIO_PIN_SET);

    // Motor B FORWARD
    HAL_GPIO_WritePin(GPIOE, GPIO_PIN_9, GPIO_PIN_SET);
    HAL_GPIO_WritePin(GPIOE, GPIO_PIN_11, GPIO_PIN_RESET);

    // FULL SPEED
    __HAL_TIM_SET_COMPARE(&htim4, TIM_CHANNEL_1, htim4.Init.Period);
    __HAL_TIM_SET_COMPARE(&htim4, TIM_CHANNEL_2, htim4.Init.Period);
}

void Motor_Right(void)
{
    // Motor 1 FORWARD
    HAL_GPIO_WritePin(GPIOD, GPIO_PIN_14, GPIO_PIN_SET);
    HAL_GPIO_WritePin(GPIOD, GPIO_PIN_15, GPIO_PIN_RESET);

    // Motor 2 BACKWARD
    HAL_GPIO_WritePin(GPIOE, GPIO_PIN_9, GPIO_PIN_RESET);
    HAL_GPIO_WritePin(GPIOE, GPIO_PIN_11, GPIO_PIN_SET);

    __HAL_TIM_SET_COMPARE(&htim4, TIM_CHANNEL_1, htim4.Init.Period);
    __HAL_TIM_SET_COMPARE(&htim4, TIM_CHANNEL_2, htim4.Init.Period);
}

void Motor_Stop(void)
{
    // Stop Motor 1
    HAL_GPIO_WritePin(GPIOD, GPIO_PIN_14, GPIO_PIN_RESET);
    HAL_GPIO_WritePin(GPIOD, GPIO_PIN_15, GPIO_PIN_RESET);

    // Stop Motor 2
    HAL_GPIO_WritePin(GPIOE, GPIO_PIN_9, GPIO_PIN_RESET);
    HAL_GPIO_WritePin(GPIOE, GPIO_PIN_11, GPIO_PIN_RESET);

    __HAL_TIM_SET_COMPARE(&htim4, TIM_CHANNEL_1, 0);
    __HAL_TIM_SET_COMPARE(&htim4, TIM_CHANNEL_2, 0);
}

float HCSR04_Read(void)
{
    uint32_t start_tick;
    uint32_t echo_time;

    /* Front sensor: TRIG = PE7, ECHO = PE8 */

    HAL_GPIO_WritePin(GPIOE, GPIO_PIN_7, GPIO_PIN_RESET);

    __HAL_TIM_SET_COUNTER(&htim5, 0);
    while (__HAL_TIM_GET_COUNTER(&htim5) < 2U);

    /* Send 10 us trigger pulse */
    __HAL_TIM_SET_COUNTER(&htim5, 0);
    HAL_GPIO_WritePin(GPIOE, GPIO_PIN_7, GPIO_PIN_SET);

    while (__HAL_TIM_GET_COUNTER(&htim5) < 10U);

    HAL_GPIO_WritePin(GPIOE, GPIO_PIN_7, GPIO_PIN_RESET);

    /* Wait for echo to become HIGH, with timeout */
    start_tick = HAL_GetTick();

    while (HAL_GPIO_ReadPin(GPIOE, GPIO_PIN_8) == GPIO_PIN_RESET)
    {
        if ((HAL_GetTick() - start_tick) >= 30U)
        {
            return -1.0f;  /* No echo received */
        }
    }

    /* Measure echo pulse width */
    __HAL_TIM_SET_COUNTER(&htim5, 0);
    start_tick = HAL_GetTick();

    while (HAL_GPIO_ReadPin(GPIOE, GPIO_PIN_8) == GPIO_PIN_SET)
    {
        if ((HAL_GetTick() - start_tick) >= 30U)
        {
            return -1.0f;  /* Echo did not end */
        }
    }

    echo_time = __HAL_TIM_GET_COUNTER(&htim5);

    /* Distance in centimetres */
    return (float)echo_time * 0.0343f / 2.0f;
}

float HCSR04_Read2(void)
{
    uint32_t start_tick;
    uint32_t echo_time;

    /* Rear sensor: TRIG = PE12, ECHO = PE13 */

    HAL_GPIO_WritePin(GPIOE, GPIO_PIN_12, GPIO_PIN_RESET);

    __HAL_TIM_SET_COUNTER(&htim6, 0);
    while (__HAL_TIM_GET_COUNTER(&htim6) < 2U);

    /* Send 10 us trigger pulse */
    __HAL_TIM_SET_COUNTER(&htim6, 0);
    HAL_GPIO_WritePin(GPIOE, GPIO_PIN_12, GPIO_PIN_SET);

    while (__HAL_TIM_GET_COUNTER(&htim6) < 10U);

    HAL_GPIO_WritePin(GPIOE, GPIO_PIN_12, GPIO_PIN_RESET);

    /* Wait for echo to become HIGH */
    start_tick = HAL_GetTick();

    while (HAL_GPIO_ReadPin(GPIOE, GPIO_PIN_13) == GPIO_PIN_RESET)
    {
        if ((HAL_GetTick() - start_tick) >= 30U)
        {
            return -1.0f;
        }
    }

    /* Measure echo pulse width */
    __HAL_TIM_SET_COUNTER(&htim6, 0);
    start_tick = HAL_GetTick();

    while (HAL_GPIO_ReadPin(GPIOE, GPIO_PIN_13) == GPIO_PIN_SET)
    {
        if ((HAL_GetTick() - start_tick) >= 30U)
        {
            return -1.0f;
        }
    }

    echo_time = __HAL_TIM_GET_COUNTER(&htim6);

    return (float)echo_time * 0.0343f / 2.0f;
}

void MPU6500_Init(void)
{
    uint8_t check = 0;
    uint8_t data = 0x00;

    who_am_i = 0;
    mpu6500_ready = 0;

    /* Read WHO_AM_I register */
    mpu_i2c_status = HAL_I2C_Mem_Read(
        &hi2c1,
        MPU6500_ADDR,
        0x75,
        I2C_MEMADD_SIZE_8BIT,
        &check,
        1,
        100
    );

    if (mpu_i2c_status != HAL_OK)
    {
        return;
    }

    who_am_i = check;

    /* MPU6500 should return 0x70 */
    if (who_am_i != 0x70)
    {
        return;
    }

    /* Wake up the MPU6500 */
    mpu_i2c_status = HAL_I2C_Mem_Write(
        &hi2c1,
        MPU6500_ADDR,
        0x6B,
        I2C_MEMADD_SIZE_8BIT,
        &data,
        1,
        100
    );

    if (mpu_i2c_status != HAL_OK)
    {
        return;
    }

    HAL_Delay(100);

    mpu6500_ready = 1;
}

HAL_StatusTypeDef MPU6500_Read(void)
{
    uint8_t sensor_data[14];

    if (mpu6500_ready == 0)
    {
        return HAL_ERROR;
    }

    mpu_read_status = HAL_I2C_Mem_Read(
        &hi2c1,
        MPU6500_ADDR,
        0x3B,
        I2C_MEMADD_SIZE_8BIT,
        sensor_data,
        14,
        100
    );

    if (mpu_read_status != HAL_OK)
    {
        return mpu_read_status;
    }

    Accel_X_RAW = (int16_t)((sensor_data[0] << 8) | sensor_data[1]);
    Accel_Y_RAW = (int16_t)((sensor_data[2] << 8) | sensor_data[3]);
    Accel_Z_RAW = (int16_t)((sensor_data[4] << 8) | sensor_data[5]);

    Gyro_X_RAW = (int16_t)((sensor_data[8] << 8) | sensor_data[9]);
    Gyro_Y_RAW = (int16_t)((sensor_data[10] << 8) | sensor_data[11]);
    Gyro_Z_RAW = (int16_t)((sensor_data[12] << 8) | sensor_data[13]);

    /* Accelerometer: +/- 2g */
    Accel_X = Accel_X_RAW / 16384.0f;
    Accel_Y = Accel_Y_RAW / 16384.0f;
    Accel_Z = Accel_Z_RAW / 16384.0f;

    /* Gyroscope: +/- 250 degrees/second */
    Gyro_X = (Gyro_X_RAW / 131.0f) - Gyro_X_Offset;
    Gyro_Y = (Gyro_Y_RAW / 131.0f) - Gyro_Y_Offset;
    Gyro_Z = (Gyro_Z_RAW / 131.0f) - Gyro_Z_Offset;

    return HAL_OK;
}

void MPU6500_CalibrateGyro(void)
{
    const int samples = 500;
    int successful_samples = 0;

    float sum_x = 0.0f;
    float sum_y = 0.0f;
    float sum_z = 0.0f;

    if (mpu6500_ready == 0)
    {
        return;
    }

    /* Keep the robot stationary */
    HAL_Delay(1000);

    for (int i = 0; i < samples; i++)
    {
        if (MPU6500_Read() == HAL_OK)
        {
            sum_x += Gyro_X_RAW / 131.0f;
            sum_y += Gyro_Y_RAW / 131.0f;
            sum_z += Gyro_Z_RAW / 131.0f;

            successful_samples++;
        }

        HAL_Delay(5);
    }

    if (successful_samples == 0)
    {
        mpu6500_ready = 0;
        return;
    }

    Gyro_X_Offset = sum_x / successful_samples;
    Gyro_Y_Offset = sum_y / successful_samples;
    Gyro_Z_Offset = sum_z / successful_samples;

    /* Verify that a fresh reading is successful */
    if (MPU6500_Read() != HAL_OK)
    {
        mpu6500_ready = 0;
    }
}

/* USER CODE END 4 */

void StartDefaultTask(void *argument)
{
  /* init code for USB_HOST */
  MX_USB_HOST_Init();
  /* USER CODE BEGIN 5 */
  /* Infinite loop */
  for(;;)
  {
      encoder1_count = __HAL_TIM_GET_COUNTER(&htim2);
      encoder2_count = __HAL_TIM_GET_COUNTER(&htim3);

      // Calculate movement since last reading
      encoder1_delta = encoder1_count - encoder1_prev;
      encoder2_delta = encoder2_count - encoder2_prev;

      encoder1_speed = encoder1_delta * 10.0f;
      encoder2_speed = encoder2_delta * 10.0f;

      speed_error = fabsf(encoder1_speed) - fabsf(encoder2_speed);

      float correction = Kp * speed_error;

      float left_command  = base_pwm - correction;
      float right_command = base_pwm + correction;

      if (left_command < 0)
          left_command = 0;

      if (right_command < 0)
          right_command = 0;

      if (left_command > 65535)
          left_command = 65535;

      if (right_command > 65535)
          right_command = 65535;

      left_pwm = (uint16_t)left_command;
      right_pwm = (uint16_t)right_command;

      // Save current values for next cycle
      encoder1_prev = encoder1_count;
      encoder2_prev = encoder2_count;
	  osDelay(100);
  }
  /* USER CODE END 5 */
}

void RobotTaskFunction(void *argument)
{
    /* USER CODE BEGIN RobotTaskFunction */

    const float FRONT_STOP_CM = 20.0f;
    const float REAR_SAFE_CM  = 25.0f;

    float left_distance;
    float right_distance;

    static uint32_t last_uart_tick = 0;

    for (;;)
    {
        /* Check the forward path */
        distance1 = HCSR04_Read();

        /* Update IMU */
        static uint32_t previous_imu_tick = 0;
        uint32_t current_imu_tick;
        float dt;

        if (MPU6500_Read() == HAL_OK)
        {
            current_imu_tick = HAL_GetTick();

            if (previous_imu_tick == 0)
            {
                previous_imu_tick = current_imu_tick;
            }

            dt = (current_imu_tick - previous_imu_tick) / 1000.0f;
            previous_imu_tick = current_imu_tick;

            Yaw_Angle += Gyro_Z * dt;
        }

        /* Send telemetry to ESP32-C3 every 1 second */
        if (HAL_GetTick() - last_uart_tick >= 1000)
        {
            char telemetry[150];

            last_uart_tick = HAL_GetTick();

            uint32_t left_encoder_count =
                __HAL_TIM_GET_COUNTER(&htim2);

            uint32_t right_encoder_count =
                __HAL_TIM_GET_COUNTER(&htim3);

            snprintf(telemetry, sizeof(telemetry),
                "DIST:%.2f,ACC:%.2f,%.2f,%.2f,GYRO:%.2f,%.2f,%.2f,YAW:%.2f,ENC_L:%lu,ENC_R:%lu\r\n",
                distance1,
                Accel_X, Accel_Y, Accel_Z,
                Gyro_X, Gyro_Y, Gyro_Z,
                Yaw_Angle,
                (unsigned long)left_encoder_count,
                (unsigned long)right_encoder_count);

            HAL_UART_Transmit(
                &huart2,
                (uint8_t *)telemetry,
                strlen(telemetry),
                100
            );
        }

        /* Handle invalid ultrasonic readings */
        if (distance1 <= 0)
        {
            Motor_Stop();
            osDelay(100);
            continue;
        }

        /* Move forward if the path is clear */
        if (distance1 > FRONT_STOP_CM)
        {
            Motor_Forward_PWM(left_pwm, right_pwm);
            osDelay(50);
            continue;
        }

        /* Obstacle detected */
        Motor_Stop();
        osDelay(300);

        /* CENTRE position */
        __HAL_TIM_SET_COMPARE(&htim1, TIM_CHANNEL_1, 770);
        osDelay(500);

        /* Scan LEFT */
        __HAL_TIM_SET_COMPARE(&htim1, TIM_CHANNEL_1, 1115);
        osDelay(500);

        left_distance = HCSR04_Read();
        osDelay(100);

        /* Return to CENTRE */
        __HAL_TIM_SET_COMPARE(&htim1, TIM_CHANNEL_1, 770);
        osDelay(500);

        /* Scan RIGHT */
        __HAL_TIM_SET_COMPARE(&htim1, TIM_CHANNEL_1, 425);
        osDelay(500);

        right_distance = HCSR04_Read();
        osDelay(100);

        /* Return to CENTRE */
        __HAL_TIM_SET_COMPARE(&htim1, TIM_CHANNEL_1, 770);
        osDelay(500);

        /* Choose a safe direction */
        if (left_distance > FRONT_STOP_CM &&
            right_distance > FRONT_STOP_CM)
        {
            if (left_distance >= right_distance)
            {
                Motor_Left();
                osDelay(400);
            }
            else
            {
                Motor_Right();
                osDelay(400);
            }

            Motor_Stop();
            osDelay(200);
        }
        else if (left_distance > FRONT_STOP_CM)
        {
            Motor_Left();
            osDelay(400);
            Motor_Stop();
            osDelay(200);
        }
        else if (right_distance > FRONT_STOP_CM)
        {
            Motor_Right();
            osDelay(400);
            Motor_Stop();
            osDelay(200);
        }
        else
        {
            Motor_Stop();
            osDelay(200);

            distance2 = HCSR04_Read2();

            if (distance2 > REAR_SAFE_CM)
            {
                Motor_Backward();
                osDelay(250);
                Motor_Stop();
                osDelay(300);
            }
            else
            {
                Motor_Stop();
                osDelay(500);
            }
        }
    }

    /* USER CODE END RobotTaskFunction */
}

void Error_Handler(void)
{
  __disable_irq();
  while (1)
  {
  }
}
